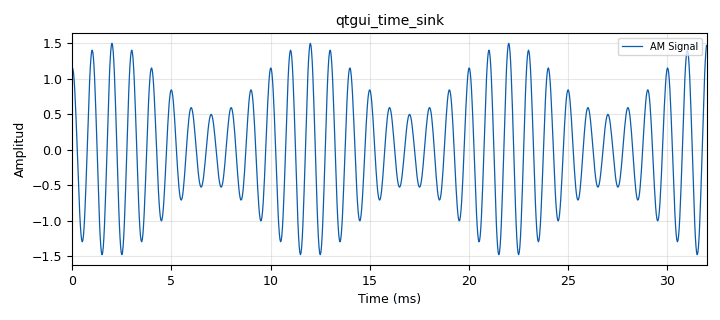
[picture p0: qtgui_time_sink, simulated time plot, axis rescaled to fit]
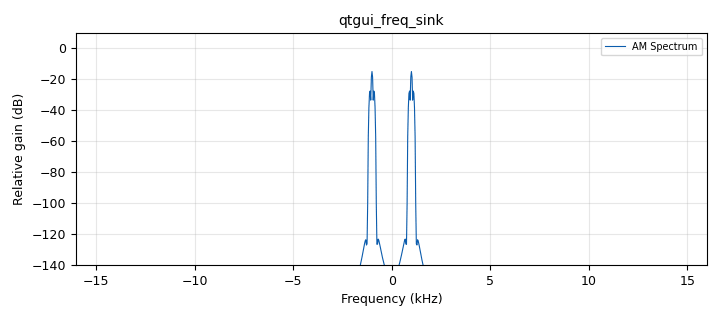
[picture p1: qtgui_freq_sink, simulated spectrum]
<?xml version='1.0' encoding='utf-8'?>
<?grc format='1' created='3.10.0'?>
<flow_graph>
<block>
<key>options</key>
<param><key>id</key><value>am_modulation</value></param>
<param><key>author</key><value>SSA-Akademin</value></param>
<param><key>comment</key><value>Exempel på amplitudmodulation (AM)</value></param>
<param><key>copyright</key><value>CC BY-SA 4.0</value></param>
<param><key>description</key><value>Demonstration av amplitudmodulation med bärvåg och modulerande signal</value></param>
<param><key>generate_options</key><value>qt_gui</value></param>
<param><key>output_language</key><value>python</value></param>
<param><key>title</key><value>AM Modulation Example</value></param>
</block>
<block>
<key>variable</key>
<param><key>id</key><value>samp_rate</value></param>
<param><key>comment</key><value>Samplingsfrekvens</value></param>
<param><key>value</key><value>32000</value></param>
</block>
<block>
<key>variable</key>
<param><key>id</key><value>carrier_freq</value></param>
<param><key>comment</key><value>Bärvågsfrekvens</value></param>
<param><key>value</key><value>1000</value></param>
</block>
<block>
<key>variable</key>
<param><key>id</key><value>modulation_freq</value></param>
<param><key>comment</key><value>Modulerande signalfrekvens</value></param>
<param><key>value</key><value>100</value></param>
</block>
<block>
<key>variable</key>
<param><key>id</key><value>modulation_index</value></param>
<param><key>comment</key><value>Modulationsdjup (0-1)</value></param>
<param><key>value</key><value>0.5</value></param>
</block>
<block>
<key>analog_sig_source_x</key>
<param><key>id</key><value>carrier_source</value></param>
<param><key>amp</key><value>1</value></param>
<param><key>comment</key><value>Bärvåg</value></param>
<param><key>freq</key><value>carrier_freq</value></param>
<param><key>offset</key><value>0</value></param>
<param><key>samp_rate</key><value>samp_rate</value></param>
<param><key>type</key><value>float</value></param>
<param><key>waveform</key><value>analog.GR_COS_WAVE</value></param>
</block>
<block>
<key>analog_sig_source_x</key>
<param><key>id</key><value>modulating_source</value></param>
<param><key>amp</key><value>modulation_index</value></param>
<param><key>comment</key><value>Modulerande signal</value></param>
<param><key>freq</key><value>modulation_freq</value></param>
<param><key>offset</key><value>1</value></param>
<param><key>samp_rate</key><value>samp_rate</value></param>
<param><key>type</key><value>float</value></param>
<param><key>waveform</key><value>analog.GR_COS_WAVE</value></param>
</block>
<block>
<key>blocks_multiply_xx</key>
<param><key>id</key><value>multiply</value></param>
<param><key>comment</key><value>AM modulator</value></param>
<param><key>type</key><value>float</value></param>
</block>
<block>
<key>qtgui_time_sink_x</key>
<param><key>id</key><value>qtgui_time_sink</value></param>
<param><key>comment</key><value>Tidsdomän</value></param>
<param><key>ctrlpanel</key><value>True</value></param>
<param><key>label1</key><value>AM Signal</value></param>
<param><key>size</key><value>1024</value></param>
<param><key>srate</key><value>samp_rate</value></param>
<param><key>type</key><value>float</value></param>
<param><key>ylabel</key><value>Amplitud</value></param>
</block>
<block>
<key>qtgui_freq_sink_x</key>
<param><key>id</key><value>qtgui_freq_sink</value></param>
<param><key>bw</key><value>samp_rate</value></param>
<param><key>comment</key><value>Frekvensdomän</value></param>
<param><key>fc</key><value>0</value></param>
<param><key>fftsize</key><value>1024</value></param>
<param><key>label1</key><value>AM Spectrum</value></param>
<param><key>type</key><value>float</value></param>
<param><key>ylabel</key><value>Effekt (dB)</value></param>
</block>
<connection><source_block_id>carrier_source</source_block_id><sink_block_id>multiply</sink_block_id><source_key>0</source_key><sink_key>0</sink_key></connection>
<connection><source_block_id>modulating_source</source_block_id><sink_block_id>multiply</sink_block_id><source_key>0</source_key><sink_key>1</sink_key></connection>
<connection><source_block_id>multiply</source_block_id><sink_block_id>qtgui_time_sink</sink_block_id><source_key>0</source_key><sink_key>0</sink_key></connection>
<connection><source_block_id>multiply</source_block_id><sink_block_id>qtgui_freq_sink</sink_block_id><source_key>0</source_key><sink_key>0</sink_key></connection>
</flow_graph>
